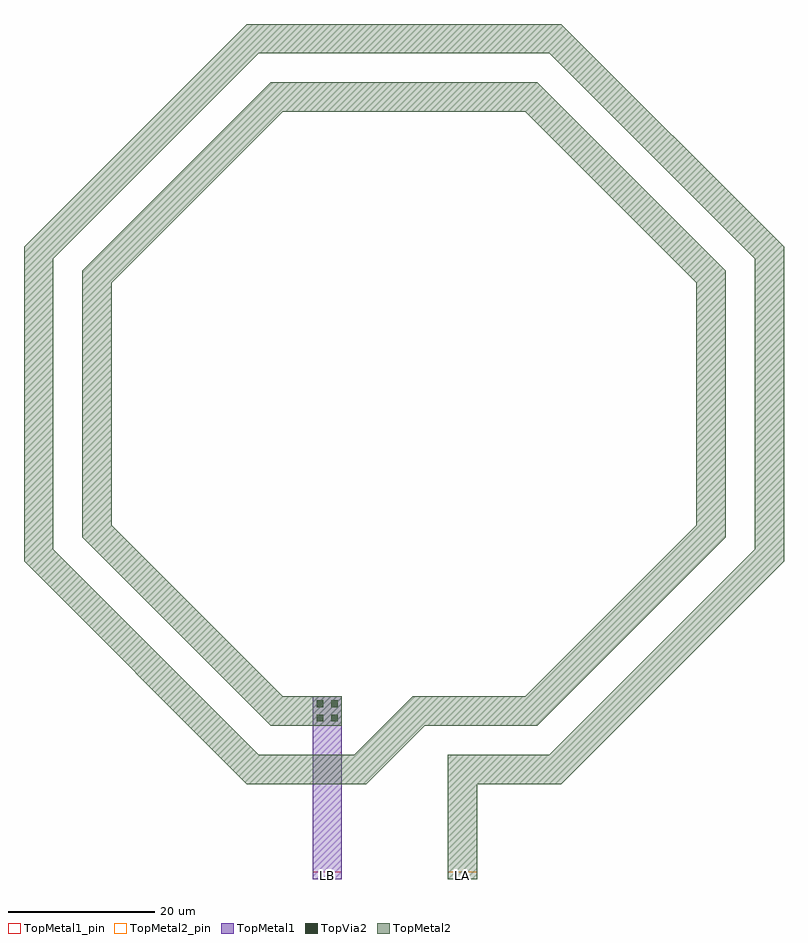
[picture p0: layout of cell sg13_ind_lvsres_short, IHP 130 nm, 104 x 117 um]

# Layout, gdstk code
import gdstk
lib = gdstk.Library(unit=1e-6, precision=1e-09)
def R(c, l, rs):  # rectangles x0, y0, x1, y1
    for r in rs: c.add(gdstk.rectangle(r[:2], r[2:], *l))
def P(c, l, *ps):  # polygons
    for p in ps: c.add(gdstk.Polygon(p, *l))
TopMetal1 = (126, 0)
TopMetal1_pin = (126, 2)
TopVia2 = (133, 0)
TopMetal2 = (134, 0)
TopMetal2_pin = (134, 2)

sg13_ind_lvsres_short = lib.new_cell('sg13_ind_lvsres_short')
R(sg13_ind_lvsres_short, TopMetal1, [(-12.5,-65,-8.5,-40)])
R(sg13_ind_lvsres_short, TopMetal1_pin, [(-12.5,-65,-8.5,-64)])
R(sg13_ind_lvsres_short, TopVia2, [(-11.93,-43.43,-11.03,-42.53), (-9.97,-43.43,-9.07,-42.53), (-11.93,-41.47,-11.03,-40.57), (-9.97,-41.47,-9.07,-40.57)])
P(sg13_ind_lvsres_short, TopMetal2, [(6,-65),(6,-48),(19.88,-48),(48,-19.88),(48,19.88),(19.88,48),(-19.88,48),(-48,19.88),(-48,-19.88),(-19.88,-48),(-6.83,-48),(1.17,-40),(16.565,-40),(40,-16.565),(40,16.565),(16.565,40),(-16.565,40),(-40,16.565),(-40,-16.565),(-16.565,-40),(-8.5,-40),(-8.5,-44),(-18.225,-44),(-44,-18.225),(-44,18.225),(-18.225,44),(18.225,44),(44,18.225),(44,-18.225),(18.225,-44),(2.83,-44),(-5.17,-52),(-21.54,-52),(-52,-21.54),(-52,21.54),(-21.54,52),(21.54,52),(52,21.54),(52,-21.54),(21.54,-52),(10,-52),(10,-65)])
R(sg13_ind_lvsres_short, TopMetal2_pin, [(6,-65,10,-64)])
sg13_ind_lvsres_short.add(gdstk.Label('LA', (8,-64.5), layer=134, texttype=25))
sg13_ind_lvsres_short.add(gdstk.Label('LB', (-10.5,-64.5), layer=126, texttype=25))

lib.write_gds('sg13_ind_lvsres_short.gds')
